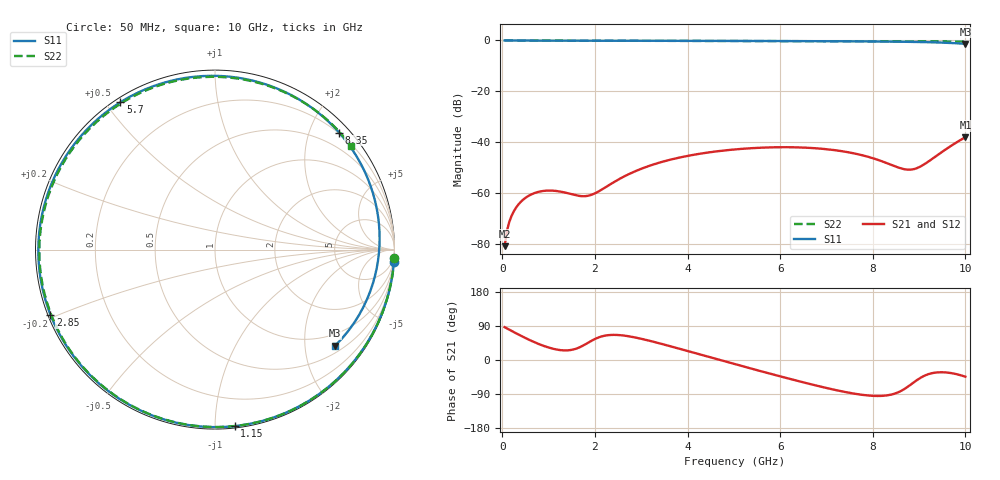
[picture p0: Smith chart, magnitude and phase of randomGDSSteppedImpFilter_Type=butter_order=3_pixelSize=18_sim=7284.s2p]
! freq	dB(S11)	phase(S11)	dB(S12)	phase(S12)
!  dB(S21)	phase(S21)	dB(S22)	phase(S22)
!S-par simulation data
#  GHz  S  DB  R 50
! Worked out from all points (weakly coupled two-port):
!   200 points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, 50 MHz to 10 GHz, reference 50 ohm
!   highest |S21| = -37.93 dB at 10 GHz (marker M1); lowest = -80.7 dB at 50 MHz (marker M2)
!   lowest |S11| = -1.3 dB at 10 GHz (marker M3), VSWR 13.02, Z = 33.6 - j135 ohm
!   |S11| at or under -10 dB: nowhere
!   |S22| runs from -0.4 to 0.0 dB; largest |S21 - S12| = 0
!   S11 on the Smith chart (normalised r, x): 50 MHz: 0, -28; 1.15 GHz: 0.01, -1.12; 2.85 GHz: 0.01, -0.19; 5.7 GHz: 0.02, +0.55; 8.35 GHz: 0.19, +2.51; 10 GHz: 0.67, -2.71
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0.05  -0.00 -4.1  -80.67 86.7  -80.67 86.7  -0.00 -2.7
0.1  -0.01 -8.2  -74.68 83.4  -74.68 83.4  -0.01 -5.3
0.2  -0.02 -16.2  -68.79 76.8  -68.79 76.8  -0.02 -10.5
0.4  -0.05 -31.9  -63.28 64.0  -63.28 64.0  -0.03 -20.9
0.75  -0.07 -57.7  -59.53 44.1  -59.53 44.1  -0.05 -38.6
1.15  -0.09 -83.7  -58.99 28.2  -58.99 28.2  -0.07 -58.0
1.45  -0.10 -100.6  -60.08 25.9  -60.08 25.9  -0.08 -71.7
1.75  -0.11 -115.5  -61.08 38.4  -61.08 38.4  -0.10 -84.6
1.95  -0.11 -124.5  -60.37 52.3  -60.37 52.3  -0.10 -92.8
2.3  -0.12 -138.8  -56.78 65.7  -56.78 65.7  -0.11 -106.4
2.85  -0.12 -158.4  -51.45 59.9  -51.45 59.9  -0.13 -125.9
3.4  -0.13 -175.5  -47.87 43.8  -47.87 43.8  -0.14 -143.6
4.2  -0.15 162.1  -44.62 17.0  -44.62 17.0  -0.17 -167.1
5.05  -0.18 139.7  -42.69 -11.8  -42.69 -11.8  -0.20 169.8
5.7  -0.21 122.7  -41.98 -33.4  -41.98 -33.4  -0.23 152.9
6.7  -0.27 95.5  -42.20 -65.1  -42.20 -65.1  -0.27 126.9
7.55  -0.34 70.2  -44.12 -87.8  -44.12 -87.8  -0.31 104.6
8.35  -0.44 43.3  -48.43 -92.6  -48.43 -92.6  -0.34 83.0
8.7  -0.52 30.1  -50.55 -75.2  -50.55 -75.2  -0.36 73.3
8.95  -0.59 19.8  -50.10 -53.3  -50.10 -53.3  -0.37 66.4
9.55  -0.88 -9.3  -43.03 -32.5  -43.03 -32.5  -0.39 49.7
10  -1.34 -38.6  -37.93 -44.2  -37.93 -44.2  -0.42 37.2
